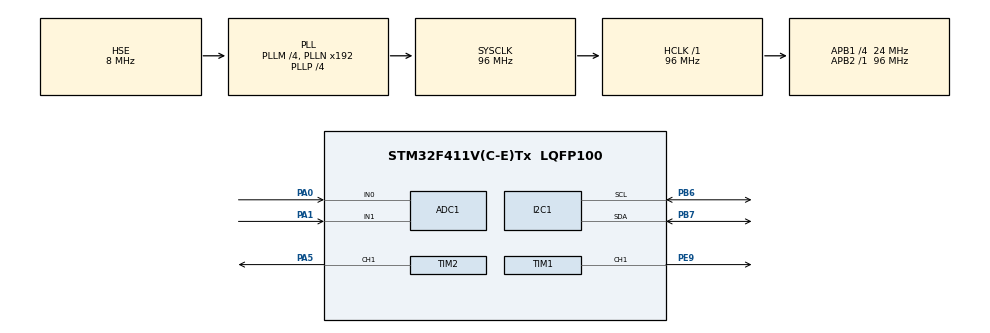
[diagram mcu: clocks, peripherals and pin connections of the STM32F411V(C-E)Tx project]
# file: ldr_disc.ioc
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ADC1.Channel-0\#ChannelRegularConversion=ADC_CHANNEL_0
ADC1.Channel-1\#ChannelRegularConversion=ADC_CHANNEL_1
ADC1.NbrOfConversion=2
ADC1.NbrOfConversionFlag=1
ADC1.Rank-0\#ChannelRegularConversion=1
ADC1.Rank-1\#ChannelRegularConversion=2
ADC1.SamplingTime-0\#ChannelRegularConversion=ADC_SAMPLETIME_3CYCLES
ADC1.SamplingTime-1\#ChannelRegularConversion=ADC_SAMPLETIME_3CYCLES
ADC1.ScanConvMode=ENABLE
ADC1.master=1
Dma.ADC1.0.Direction=DMA_PERIPH_TO_MEMORY
Dma.ADC1.0.FIFOMode=DMA_FIFOMODE_DISABLE
Dma.ADC1.0.Instance=DMA2_Stream0
Dma.ADC1.0.MemDataAlignment=DMA_MDATAALIGN_HALFWORD
Dma.ADC1.0.MemInc=DMA_MINC_ENABLE
Dma.ADC1.0.Mode=DMA_CIRCULAR
Dma.ADC1.0.PeriphDataAlignment=DMA_PDATAALIGN_HALFWORD
Dma.ADC1.0.PeriphInc=DMA_PINC_DISABLE
Dma.ADC1.0.Priority=DMA_PRIORITY_LOW
Dma.Request0=ADC1
Mcu.Family=STM32F4
Mcu.Name=STM32F411V(C-E)Tx
Mcu.Package=LQFP100
NVIC.DMA2_Stream0_IRQn=true\:0\:0\:false\:false\:true\:false\:true\:true
NVIC.PriorityGroup=NVIC_PRIORITYGROUP_0
PA0-WKUP.Signal=ADCx_IN0
PA1.Signal=ADCx_IN1
PA13.Mode=Serial_Wire
PA13.Signal=SYS_JTMS-SWDIO
PA14.Mode=Serial_Wire
PA14.Signal=SYS_JTCK-SWCLK
PA5.Signal=S_TIM2_CH1_ETR
PB6.Mode=I2C
PB6.Signal=I2C1_SCL
PB7.Mode=I2C
PB7.Signal=I2C1_SDA
PE9.Signal=S_TIM1_CH1
PH0\ -\ OSC_IN.Mode=HSE-External-Oscillator
PH0\ -\ OSC_IN.Signal=RCC_OSC_IN
PH1\ -\ OSC_OUT.Mode=HSE-External-Oscillator
PH1\ -\ OSC_OUT.Signal=RCC_OSC_OUT
ProjectManager.HeapSize=0x200
ProjectManager.StackSize=0x400
ProjectManager.TargetToolchain=STM32CubeIDE
RCC.48MHZClocksFreq_Value=48000000
RCC.AHBFreq_Value=96000000
RCC.APB1CLKDivider=RCC_HCLK_DIV4
RCC.APB1Freq_Value=24000000
RCC.APB1TimFreq_Value=48000000
RCC.APB2Freq_Value=96000000
RCC.APB2TimFreq_Value=96000000
RCC.CortexFreq_Value=96000000
RCC.HCLKFreq_Value=96000000
RCC.HSE_VALUE=8000000
RCC.HSI_VALUE=16000000
RCC.LSE_VALUE=32768
RCC.PLLI2SM=5
RCC.PLLI2SN=200
RCC.PLLM=4
RCC.PLLP=RCC_PLLP_DIV4
RCC.PLLQ=8
RCC.PLLSourceVirtual=RCC_PLLSOURCE_HSE
RCC.SYSCLKFreq_VALUE=96000000
RCC.SYSCLKSource=RCC_SYSCLKSOURCE_PLLCLK
RCC.VCOOutputFreq_Value=384000000
SH.ADCx_IN0.0=ADC1_IN0,IN0
SH.ADCx_IN1.0=ADC1_IN1,IN1
SH.S_TIM1_CH1.0=TIM1_CH1,PWM Generation1 CH1
SH.S_TIM2_CH1_ETR.0=TIM2_CH1,PWM Generation1 CH1
TIM1.AutoReloadPreload=TIM_AUTORELOAD_PRELOAD_ENABLE
TIM1.Channel-PWM\ Generation1\ CH1=TIM_CHANNEL_1
TIM1.Period=999
TIM1.Prescaler=95
TIM2.AutoReloadPreload=TIM_AUTORELOAD_PRELOAD_ENABLE
TIM2.Channel-PWM\ Generation1\ CH1=TIM_CHANNEL_1
TIM2.Period=999
TIM2.Prescaler=95
VP_TIM1_VS_ClockSourceINT.Mode=Internal
VP_TIM2_VS_ClockSourceINT.Mode=Internal
board=STM32F411E-DISCO

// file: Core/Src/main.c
/* USER CODE BEGIN Header */
/**
  ******************************************************************************
  * @file           : main.c
  * @brief          : Main program body
  ******************************************************************************
  * @attention
  *
  * Copyright (c) 2024 STMicroelectronics.
  * All rights reserved.
  *
  * This software is licensed under terms that can be found in the LICENSE file
  * in the root directory of this software component.
  * If no LICENSE file comes with this software, it is provided AS-IS.
  *
  ******************************************************************************
  */
/* USER CODE END Header */
#include "main.h"

ADC_HandleTypeDef hadc1;
DMA_HandleTypeDef hdma_adc1;

I2C_HandleTypeDef hi2c1;

TIM_HandleTypeDef htim1;
TIM_HandleTypeDef htim2;

/* USER CODE BEGIN PV */
uint32_t adc_val[2];
uint32_t ldr_val;
int32_t error;
float Kp=2;
float ldr_value;
char ldr_arr_lcd[5];
char curr_arr_lcd[5];
uint32_t dc=0;
//uint32_t voltage;
ADC_ChannelConfTypeDef sConfig = {0};
/* USER CODE END PV */

void SystemClock_Config(void);
static void MX_GPIO_Init(void);
static void MX_DMA_Init(void);
static void MX_ADC1_Init(void);
static void MX_TIM1_Init(void);
static void MX_I2C1_Init(void);
static void MX_TIM2_Init(void);
/* USER CODE BEGIN PFP */
float readValue;
float sensitivity = 0.185; // 0.1 for 20A Model
float rawVoltage;
float current;
//HD44780_Init(int c);
//HD44780_Clear();
//HD44780_Backlight();
//
//	   HD44780_SetCursor(int c,int d);
	 // HD44780_PrintStr(char);
/* USER CODE END PFP */

/* USER CODE BEGIN 0 */
void ADC_Select_CH0(void){
	  sConfig.Channel = ADC_CHANNEL_0;
	  sConfig.Rank = 1;
	  sConfig.SamplingTime = ADC_SAMPLETIME_3CYCLES;
	  if (HAL_ADC_ConfigChannel(&hadc1, &sConfig) != HAL_OK)
	  {
	  Error_Handler();
	  }
}
void ADC_Select_CH1(void){
	 sConfig.Channel = ADC_CHANNEL_1;
     sConfig.Rank = 1;
	  if (HAL_ADC_ConfigChannel(&hadc1, &sConfig) != HAL_OK)
	  {
	    Error_Handler();
	}
}
/* USER CODE END 0 */

int main(void)
{

  /* MCU Configuration--------------------------------------------------------*/

  /* Reset of all peripherals, Initializes the Flash interface and the Systick. */
  HAL_Init();

  /* Configure the system clock */
  SystemClock_Config();

  /* Initialize all configured peripherals */
  MX_GPIO_Init();
  MX_DMA_Init();
  MX_ADC1_Init();
  MX_TIM1_Init();
  MX_I2C1_Init();
  MX_TIM2_Init();

  /* Infinite loop */
  while (1)
  {

    /* USER CODE BEGIN 3 */
//	  HD44780_Init(2);
	  ADC_Select_CH0();
	  HAL_ADC_Start(&hadc1);
	  HAL_TIM_PWM_Start(&htim1,TIM_CHANNEL_1);
	  HAL_TIM_PWM_Start(&htim2, TIM_CHANNEL_1);
	  if(HAL_ADC_PollForConversion(&hadc1,10)==HAL_OK){
		  adc_val[0]=HAL_ADC_GetValue(&hadc1);}
		  else{
			  adc_val[0]=0;
		  }
	  HAL_ADC_Stop(&hadc1);
	  ADC_Select_CH1();
	  HAL_ADC_Start(&hadc1);
	  if(HAL_ADC_PollForConversion(&hadc1,10)==HAL_OK){
		  adc_val[1]=HAL_ADC_GetValue(&hadc1);}
	  else{
	  			  adc_val[1]=0;
	  		  }
      HAL_ADC_Stop(&hadc1);
	  //ldr_value=ldr_val;
	  HAL_Delay(100);
	  ldr_val=adc_val[0];
	  readValue=adc_val[1];
	  ldr_value=ldr_val;

	  rawVoltage =  readValue * 3.3 * 1.6/ 4095;
	  current =(rawVoltage - 2.5)/sensitivity;
	  if(current<0){
		  current=0;//sensitivity depends on model
	  }

	  error =ldr_val - 500;
	  	if (error >50){
	  		dc = error * Kp;
	  		if (dc > 1000){
	  			dc = 990;
	  		}
	  		else if(dc<0){
	  			dc=0;
	  		}
	  		else{
	  			TIM1->CCR1 = dc;
	  			TIM1->CCR2 = dc;
	  			TIM2->CCR1 = dc;
	  			TIM2->CCR2 = dc;
	  		}
	  	}
	  	else{
	  		TIM1->CCR1 = 0;
	  		TIM1->CCR2 = 0;
	  		TIM2->CCR1 = 0;
	  		TIM2->CCR2 = 0;

	  	}
	//  	sprintf(ldr_arr_lcd, "%.3f", ldr_value);
//	  	sprintf(curr_arr_lcd, "%.3f", current);
////
////	    HD44780_Init(2);
//	    HD44780_Clear();
//	  	HD44780_Backlight();
////
//	   HD44780_SetCursor(0,0);
//	  HD44780_PrintStr("Curr:");
//	   HD44780_SetCursor(9,0);
//	  HD44780_PrintStr(curr_arr_lcd);
//	  HD44780_SetCursor(0,1);
//	 HD44780_PrintStr("LDR:");
//	HD44780_SetCursor(9,1);
//	HD44780_PrintStr(ldr_arr_lcd);

  }
  /* USER CODE END 3 */
}

void SystemClock_Config(void)
{
  RCC_OscInitTypeDef RCC_OscInitStruct = {0};
  RCC_ClkInitTypeDef RCC_ClkInitStruct = {0};

  /** Configure the main internal regulator output voltage
  */
  __HAL_RCC_PWR_CLK_ENABLE();
  __HAL_PWR_VOLTAGESCALING_CONFIG(PWR_REGULATOR_VOLTAGE_SCALE1);

  /** Initializes the RCC Oscillators according to the specified parameters
  * in the RCC_OscInitTypeDef structure.
  */
  RCC_OscInitStruct.OscillatorType = RCC_OSCILLATORTYPE_HSE;
  RCC_OscInitStruct.HSEState = RCC_HSE_ON;
  RCC_OscInitStruct.PLL.PLLState = RCC_PLL_ON;
  RCC_OscInitStruct.PLL.PLLSource = RCC_PLLSOURCE_HSE;
  RCC_OscInitStruct.PLL.PLLM = 4;
  RCC_OscInitStruct.PLL.PLLN = 192;
  RCC_OscInitStruct.PLL.PLLP = RCC_PLLP_DIV4;
  RCC_OscInitStruct.PLL.PLLQ = 8;
  if (HAL_RCC_OscConfig(&RCC_OscInitStruct) != HAL_OK)
  {
    Error_Handler();
  }

  /** Initializes the CPU, AHB and APB buses clocks
  */
  RCC_ClkInitStruct.ClockType = RCC_CLOCKTYPE_HCLK|RCC_CLOCKTYPE_SYSCLK
                              |RCC_CLOCKTYPE_PCLK1|RCC_CLOCKTYPE_PCLK2;
  RCC_ClkInitStruct.SYSCLKSource = RCC_SYSCLKSOURCE_PLLCLK;
  RCC_ClkInitStruct.AHBCLKDivider = RCC_SYSCLK_DIV1;
  RCC_ClkInitStruct.APB1CLKDivider = RCC_HCLK_DIV4;
  RCC_ClkInitStruct.APB2CLKDivider = RCC_HCLK_DIV1;

  if (HAL_RCC_ClockConfig(&RCC_ClkInitStruct, FLASH_LATENCY_3) != HAL_OK)
  {
    Error_Handler();
  }
}

static void MX_ADC1_Init(void)
{

  ADC_ChannelConfTypeDef sConfig = {0};

  /** Configure the global features of the ADC (Clock, Resolution, Data Alignment and number of conversion)
  */
  hadc1.Instance = ADC1;
  hadc1.Init.ClockPrescaler = ADC_CLOCK_SYNC_PCLK_DIV4;
  hadc1.Init.Resolution = ADC_RESOLUTION_12B;
  hadc1.Init.ScanConvMode = ENABLE;
  hadc1.Init.ContinuousConvMode = DISABLE;
  hadc1.Init.DiscontinuousConvMode = DISABLE;
  hadc1.Init.ExternalTrigConvEdge = ADC_EXTERNALTRIGCONVEDGE_NONE;
  hadc1.Init.ExternalTrigConv = ADC_SOFTWARE_START;
  hadc1.Init.DataAlign = ADC_DATAALIGN_RIGHT;
  hadc1.Init.NbrOfConversion = 2;
  hadc1.Init.DMAContinuousRequests = DISABLE;
  hadc1.Init.EOCSelection = ADC_EOC_SINGLE_CONV;
  if (HAL_ADC_Init(&hadc1) != HAL_OK)
  {
    Error_Handler();
  }

  /** Configure for the selected ADC regular channel its corresponding rank in the sequencer and its sample time.
  */
  sConfig.Channel = ADC_CHANNEL_0;
  sConfig.Rank = 1;
  sConfig.SamplingTime = ADC_SAMPLETIME_3CYCLES;
  if (HAL_ADC_ConfigChannel(&hadc1, &sConfig) != HAL_OK)
  {
    Error_Handler();
  }

  /** Configure for the selected ADC regular channel its corresponding rank in the sequencer and its sample time.
  */
  sConfig.Channel = ADC_CHANNEL_1;
  sConfig.Rank = 2;
  if (HAL_ADC_ConfigChannel(&hadc1, &sConfig) != HAL_OK)
  {
    Error_Handler();
  }

}

static void MX_I2C1_Init(void)
{

  hi2c1.Instance = I2C1;
  hi2c1.Init.ClockSpeed = 100000;
  hi2c1.Init.DutyCycle = I2C_DUTYCYCLE_2;
  hi2c1.Init.OwnAddress1 = 0;
  hi2c1.Init.AddressingMode = I2C_ADDRESSINGMODE_7BIT;
  hi2c1.Init.DualAddressMode = I2C_DUALADDRESS_DISABLE;
  hi2c1.Init.OwnAddress2 = 0;
  hi2c1.Init.GeneralCallMode = I2C_GENERALCALL_DISABLE;
  hi2c1.Init.NoStretchMode = I2C_NOSTRETCH_DISABLE;
  if (HAL_I2C_Init(&hi2c1) != HAL_OK)
  {
    Error_Handler();
  }

}

static void MX_TIM1_Init(void)
{

  TIM_ClockConfigTypeDef sClockSourceConfig = {0};
  TIM_MasterConfigTypeDef sMasterConfig = {0};
  TIM_OC_InitTypeDef sConfigOC = {0};
  TIM_BreakDeadTimeConfigTypeDef sBreakDeadTimeConfig = {0};

  htim1.Instance = TIM1;
  htim1.Init.Prescaler = 95;
  htim1.Init.CounterMode = TIM_COUNTERMODE_UP;
  htim1.Init.Period = 999;
  htim1.Init.ClockDivision = TIM_CLOCKDIVISION_DIV1;
  htim1.Init.RepetitionCounter = 0;
  htim1.Init.AutoReloadPreload = TIM_AUTORELOAD_PRELOAD_ENABLE;
  if (HAL_TIM_Base_Init(&htim1) != HAL_OK)
  {
    Error_Handler();
  }
  sClockSourceConfig.ClockSource = TIM_CLOCKSOURCE_INTERNAL;
  if (HAL_TIM_ConfigClockSource(&htim1, &sClockSourceConfig) != HAL_OK)
  {
    Error_Handler();
  }
  if (HAL_TIM_PWM_Init(&htim1) != HAL_OK)
  {
    Error_Handler();
  }
  sMasterConfig.MasterOutputTrigger = TIM_TRGO_RESET;
  sMasterConfig.MasterSlaveMode = TIM_MASTERSLAVEMODE_DISABLE;
  if (HAL_TIMEx_MasterConfigSynchronization(&htim1, &sMasterConfig) != HAL_OK)
  {
    Error_Handler();
  }
  sConfigOC.OCMode = TIM_OCMODE_PWM1;
  sConfigOC.Pulse = 0;
  sConfigOC.OCPolarity = TIM_OCPOLARITY_HIGH;
  sConfigOC.OCNPolarity = TIM_OCNPOLARITY_HIGH;
  sConfigOC.OCFastMode = TIM_OCFAST_DISABLE;
  sConfigOC.OCIdleState = TIM_OCIDLESTATE_RESET;
  sConfigOC.OCNIdleState = TIM_OCNIDLESTATE_RESET;
  if (HAL_TIM_PWM_ConfigChannel(&htim1, &sConfigOC, TIM_CHANNEL_1) != HAL_OK)
  {
    Error_Handler();
  }
  sBreakDeadTimeConfig.OffStateRunMode = TIM_OSSR_DISABLE;
  sBreakDeadTimeConfig.OffStateIDLEMode = TIM_OSSI_DISABLE;
  sBreakDeadTimeConfig.LockLevel = TIM_LOCKLEVEL_OFF;
  sBreakDeadTimeConfig.DeadTime = 0;
  sBreakDeadTimeConfig.BreakState = TIM_BREAK_DISABLE;
  sBreakDeadTimeConfig.BreakPolarity = TIM_BREAKPOLARITY_HIGH;
  sBreakDeadTimeConfig.AutomaticOutput = TIM_AUTOMATICOUTPUT_DISABLE;
  if (HAL_TIMEx_ConfigBreakDeadTime(&htim1, &sBreakDeadTimeConfig) != HAL_OK)
  {
    Error_Handler();
  }
  HAL_TIM_MspPostInit(&htim1);

}

static void MX_TIM2_Init(void)
{

  TIM_ClockConfigTypeDef sClockSourceConfig = {0};
  TIM_MasterConfigTypeDef sMasterConfig = {0};
  TIM_OC_InitTypeDef sConfigOC = {0};

  htim2.Instance = TIM2;
  htim2.Init.Prescaler = 95;
  htim2.Init.CounterMode = TIM_COUNTERMODE_UP;
  htim2.Init.Period = 999;
  htim2.Init.ClockDivision = TIM_CLOCKDIVISION_DIV1;
  htim2.Init.AutoReloadPreload = TIM_AUTORELOAD_PRELOAD_ENABLE;
  if (HAL_TIM_Base_Init(&htim2) != HAL_OK)
  {
    Error_Handler();
  }
  sClockSourceConfig.ClockSource = TIM_CLOCKSOURCE_INTERNAL;
  if (HAL_TIM_ConfigClockSource(&htim2, &sClockSourceConfig) != HAL_OK)
  {
    Error_Handler();
  }
  if (HAL_TIM_PWM_Init(&htim2) != HAL_OK)
  {
    Error_Handler();
  }
  sMasterConfig.MasterOutputTrigger = TIM_TRGO_RESET;
  sMasterConfig.MasterSlaveMode = TIM_MASTERSLAVEMODE_DISABLE;
  if (HAL_TIMEx_MasterConfigSynchronization(&htim2, &sMasterConfig) != HAL_OK)
  {
    Error_Handler();
  }
  sConfigOC.OCMode = TIM_OCMODE_PWM1;
  sConfigOC.Pulse = 0;
  sConfigOC.OCPolarity = TIM_OCPOLARITY_HIGH;
  sConfigOC.OCFastMode = TIM_OCFAST_DISABLE;
  if (HAL_TIM_PWM_ConfigChannel(&htim2, &sConfigOC, TIM_CHANNEL_1) != HAL_OK)
  {
    Error_Handler();
  }
  HAL_TIM_MspPostInit(&htim2);

}

static void MX_DMA_Init(void)
{

  /* DMA controller clock enable */
  __HAL_RCC_DMA2_CLK_ENABLE();

  /* DMA interrupt init */
  /* DMA2_Stream0_IRQn interrupt configuration */
  HAL_NVIC_SetPriority(DMA2_Stream0_IRQn, 0, 0);
  HAL_NVIC_EnableIRQ(DMA2_Stream0_IRQn);

}

static void MX_GPIO_Init(void)
{

  /* GPIO Ports Clock Enable */
  __HAL_RCC_GPIOH_CLK_ENABLE();
  __HAL_RCC_GPIOA_CLK_ENABLE();
  __HAL_RCC_GPIOE_CLK_ENABLE();
  __HAL_RCC_GPIOB_CLK_ENABLE();

}

void Error_Handler(void)
{
  __disable_irq();
  while (1)
  {
  }
}
